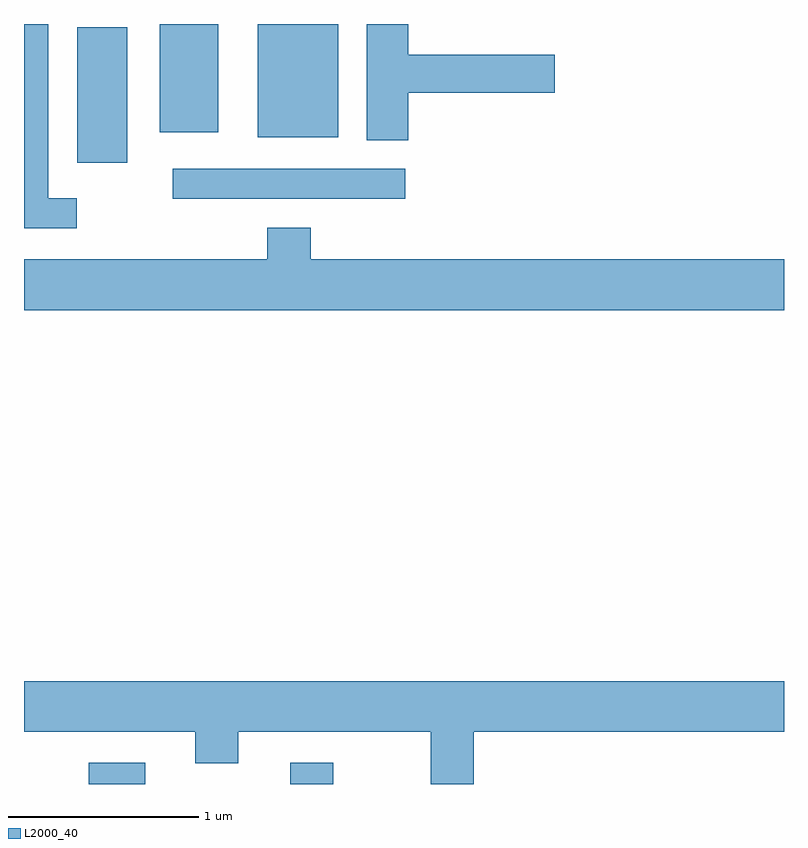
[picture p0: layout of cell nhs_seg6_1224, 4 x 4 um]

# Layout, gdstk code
import gdstk
lib = gdstk.Library(unit=1e-6, precision=1e-09)
def R(c, l, rs):  # rectangles x0, y0, x1, y1
    for r in rs: c.add(gdstk.rectangle(r[:2], r[2:], *l))
def P(c, l, *ps):  # polygons
    for p in ps: c.add(gdstk.Polygon(p, *l))
L2000_40 = (2000, 40)

nhs_seg6_1224 = lib.new_cell('nhs_seg6_1224')
R(nhs_seg6_1224, L2000_40, [(221.951,1594.162,222.249,1594.274), (223.011,1594.162,223.239,1594.274), (222.393,1597.241,223.618,1597.399), (221.891,1597.431,222.154,1598.144), (222.841,1597.566,223.264,1598.162), (222.326,1597.591,222.634,1598.162)])
P(nhs_seg6_1224, L2000_40, [(223.634,1597.801),(224.404,1597.801),(224.404,1597.999),(223.634,1597.999),(223.634,1598.162),(223.416,1598.162),(223.416,1597.551),(223.634,1597.551)],
  [(221.888,1597.244),(221.739,1597.244),(221.739,1598.162),(221.611,1598.162),(221.611,1597.086),(221.888,1597.086)],
  [(225.611,1596.924),(223.119,1596.924),(223.119,1597.089),(222.891,1597.089),(222.891,1596.924),(221.611,1596.924),(221.611,1596.656),(225.611,1596.656)],
  [(223.979,1594.436),(225.611,1594.436),(225.611,1594.704),(221.611,1594.704),(221.611,1594.436),(222.511,1594.436),(222.511,1594.271),(222.739,1594.271),(222.739,1594.436),(223.751,1594.436),(223.751,1594.162),(223.979,1594.162)])

lib.write_gds('nhs_seg6_1224.gds')
